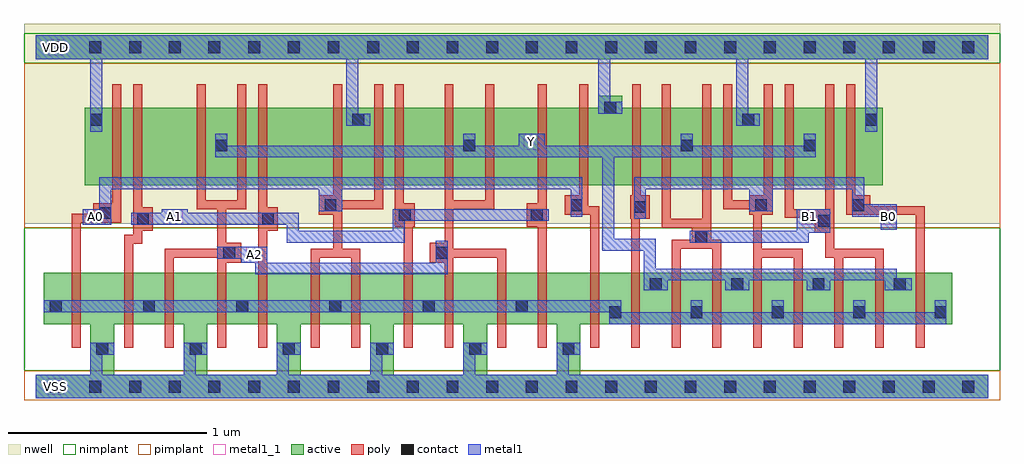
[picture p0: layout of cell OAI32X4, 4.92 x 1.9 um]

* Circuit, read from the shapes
.subckt OAI32X4 A0 A1 A2 B0 B1 VDD VSS Y
M1 VSS A0 n1 VSS nfet w=0.26u l=0.045u m=4
M2 n1 A1 VSS VSS nfet w=0.26u l=0.045u m=4
M3 VSS A2 n1 VSS nfet w=0.26u l=0.045u m=4
M4 Y B0 n1 VSS nfet w=0.26u l=0.045u m=4
M5 n1 B1 Y VSS nfet w=0.26u l=0.045u m=4
M6 n2 A0 VDD VDD pfet w=0.39u l=0.045u
M7 n3 A1 n2 VDD pfet w=0.39u l=0.045u
M8 Y A2 n3 VDD pfet w=0.39u l=0.045u
M9 n4 A2 Y VDD pfet w=0.39u l=0.045u
M10 n5 A1 n4 VDD pfet w=0.39u l=0.045u
M11 VDD A0 n5 VDD pfet w=0.39u l=0.045u
M12 n6 A0 VDD VDD pfet w=0.39u l=0.045u
M13 n7 A1 n6 VDD pfet w=0.39u l=0.045u
M14 Y A2 n7 VDD pfet w=0.39u l=0.045u
M15 n8 A2 Y VDD pfet w=0.39u l=0.045u
M16 n9 A1 n8 VDD pfet w=0.39u l=0.045u
M17 VDD A0 n9 VDD pfet w=0.39u l=0.045u
M18 n10 B0 VDD VDD pfet w=0.39u l=0.045u
M19 Y B1 n10 VDD pfet w=0.39u l=0.045u
M20 n11 B1 Y VDD pfet w=0.39u l=0.045u
M21 VDD B0 n11 VDD pfet w=0.39u l=0.045u
M22 n12 B0 VDD VDD pfet w=0.39u l=0.045u
M23 Y B1 n12 VDD pfet w=0.39u l=0.045u
M24 n13 B1 Y VDD pfet w=0.39u l=0.045u
M25 VDD B0 n13 VDD pfet w=0.39u l=0.045u
.ends

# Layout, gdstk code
import gdstk
lib = gdstk.Library(unit=1e-6, precision=5e-10)
def R(c, l, rs):  # rectangles x0, y0, x1, y1
    for r in rs: c.add(gdstk.rectangle(r[:2], r[2:], *l))
def A(c, l, x, y, w, h, nx, ny, dx, dy):  # array of equal rectangles
    R(c, l, [(x+i*dx, y+j*dy, x+i*dx+w, y+j*dy+h) for i in range(nx) for j in range(ny)])
def P(c, l, *ps):  # polygons
    for p in ps: c.add(gdstk.Polygon(p, *l))
active = (1, 0)
nwell = (2, 0)
poly = (3, 0)
nimplant = (4, 0)
pimplant = (5, 0)
contact = (6, 0)
metal1 = (7, 0)
metal1_1 = (7, 1)

oai32x4 = lib.new_cell('OAI32X4')
R(oai32x4, active, [(0,1.65,4.8,1.77)])
P(oai32x4, active, [(2.835,1.465),(2.955,1.465),(2.955,1.405),(4.27,1.405),(4.27,1.015),(0.245,1.015),(0.245,1.405),(2.835,1.405)],
  [(0.04,0.575),(4.62,0.575),(4.62,0.315),(2.745,0.315),(2.745,0.06),(4.8,0.06),(4.8,-0.06),(0,-0.06),(0,0.06),(0.275,0.06),(0.275,0.315),(0.395,0.315),(0.395,0.06),(0.745,0.06),(0.745,0.315),(0.865,0.315),(0.865,0.06),(1.215,0.06),(1.215,0.315),(1.335,0.315),(1.335,0.06),(1.685,0.06),(1.685,0.315),(1.805,0.315),(1.805,0.06),(2.155,0.06),(2.155,0.315),(2.275,0.315),(2.275,0.06),(2.625,0.06),(2.625,0.315),(0.04,0.315)])
R(oai32x4, nwell, [(-0.06,0.82,4.86,1.83)])
P(oai32x4, poly, [(0.385,1.525),(0.43,1.525),(0.43,0.825),(0.225,0.825),(0.225,0.195),(0.18,0.195),(0.18,0.87),(0.29,0.87),(0.29,0.925),(0.385,0.925)],
  [(0.49,1.525),(0.535,1.525),(0.535,0.905),(0.59,0.905),(0.59,0.785),(0.535,0.785),(0.535,0.72),(0.49,0.72),(0.49,0.195),(0.445,0.195),(0.445,0.765),(0.49,0.765)],
  [(0.81,1.525),(0.855,1.525),(0.855,0.94),(1.015,0.94),(1.015,1.525),(1.06,1.525),(1.06,0.895),(0.96,0.895),(0.96,0.725),(1.035,0.725),(1.035,0.625),(0.96,0.625),(0.96,0.195),(0.915,0.195),(0.915,0.65),(0.695,0.65),(0.695,0.195),(0.65,0.195),(0.65,0.695),(0.915,0.695),(0.915,0.895),(0.81,0.895)],
  [(1.12,1.525),(1.165,1.525),(1.165,0.905),(1.22,0.905),(1.22,0.785),(1.165,0.785),(1.165,0.195),(1.12,0.195)],
  [(1.5,1.525),(1.545,1.525),(1.545,0.94),(1.705,0.94),(1.705,1.525),(1.75,1.525),(1.75,0.895),(1.545,0.895),(1.545,0.695),(1.635,0.695),(1.635,0.195),(1.59,0.195),(1.59,0.65),(1.43,0.65),(1.43,0.195),(1.385,0.195),(1.385,0.695),(1.5,0.695),(1.5,0.865),(1.425,0.865),(1.425,0.965),(1.5,0.965)],
  [(1.81,1.525),(1.855,1.525),(1.855,0.925),(1.91,0.925),(1.91,0.805),(1.9,0.805),(1.9,0.195),(1.855,0.195),(1.855,0.805),(1.81,0.805)],
  [(2.06,1.525),(2.105,1.525),(2.105,0.94),(2.265,0.94),(2.265,1.525),(2.31,1.525),(2.31,0.895),(2.105,0.895),(2.105,0.695),(2.37,0.695),(2.37,0.195),(2.325,0.195),(2.325,0.65),(2.105,0.65),(2.105,0.195),(2.06,0.195),(2.06,0.625),(1.985,0.625),(1.985,0.725),(2.06,0.725)],
  [(2.53,1.525),(2.575,1.525),(2.575,0.195),(2.53,0.195),(2.53,0.805),(2.475,0.805),(2.475,0.925),(2.53,0.925)],
  [(2.74,1.525),(2.785,1.525),(2.785,0.91),(2.84,0.91),(2.84,0.195),(2.795,0.195),(2.795,0.865),(2.665,0.865),(2.665,0.965),(2.74,0.965)],
  [(3.005,1.525),(3.05,1.525),(3.05,0.965),(3.095,0.965),(3.095,0.845),(3.045,0.845),(3.045,0.195),(3,0.195),(3,0.845),(2.995,0.845),(2.995,0.965),(3.005,0.965)],
  [(3.155,1.525),(3.2,1.525),(3.2,0.845),(3.36,0.845),(3.36,1.525),(3.405,1.525),(3.405,0.74),(3.455,0.74),(3.455,0.195),(3.41,0.195),(3.41,0.695),(3.25,0.695),(3.25,0.195),(3.205,0.195),(3.205,0.74),(3.305,0.74),(3.305,0.8),(3.155,0.8)],
  [(3.465,1.525),(3.51,1.525),(3.51,0.94),(3.595,0.94),(3.595,0.965),(3.67,0.965),(3.67,1.525),(3.715,1.525),(3.715,0.865),(3.66,0.865),(3.66,0.695),(3.865,0.695),(3.865,0.195),(3.82,0.195),(3.82,0.65),(3.66,0.65),(3.66,0.195),(3.615,0.195),(3.615,0.865),(3.595,0.865),(3.595,0.895),(3.465,0.895)],
  [(3.775,1.525),(3.82,1.525),(3.82,0.895),(3.98,0.895),(3.98,1.525),(4.025,1.525),(4.025,0.695),(4.275,0.695),(4.275,0.195),(4.23,0.195),(4.23,0.65),(4.07,0.65),(4.07,0.195),(4.025,0.195),(4.025,0.65),(3.98,0.65),(3.98,0.775),(3.925,0.775),(3.925,0.85),(3.775,0.85)],
  [(4.085,1.525),(4.13,1.525),(4.13,0.965),(4.205,0.965),(4.205,0.91),(4.48,0.91),(4.48,0.195),(4.435,0.195),(4.435,0.865),(4.085,0.865)])
R(oai32x4, nimplant, [(-0.06,0.08,4.86,0.8), (-0.06,1.63,4.86,1.78)])
R(oai32x4, pimplant, [(-0.06,-0.07,4.86,0.08), (-0.06,0.8,4.86,1.63)])
A(oai32x4, contact, 0.07, -0.03, 0.06, 0.06, 24, 2, 0.2, 1.71)
A(oai32x4, contact, 0.305, 0.16, 0.06, 0.06, 6, 1, 0.47, 0)
A(oai32x4, contact, 2.89, 0.345, 0.06, 0.06, 5, 1, 0.41, 0)
A(oai32x4, contact, 0.07, 0.375, 0.06, 0.06, 6, 1, 0.47, 0)
A(oai32x4, contact, 3.095, 0.485, 0.06, 0.06, 4, 1, 0.41, 0)
R(oai32x4, contact, [(0.945,0.645,1.005,0.705), (2.015,0.645,2.075,0.705), (3.325,0.725,3.385,0.785), (3.945,0.805,4.005,0.865), (0.51,0.815,0.57,0.875), (1.14,0.815,1.2,0.875), (1.83,0.835,1.89,0.895), (2.495,0.835,2.555,0.895), (0.32,0.845,0.38,0.905), (3.015,0.875,3.075,0.935), (1.455,0.885,1.515,0.945), (2.695,0.885,2.755,0.945), (3.625,0.885,3.685,0.945), (4.115,0.885,4.175,0.945), (0.905,1.185,0.965,1.245), (2.155,1.185,2.215,1.245), (3.25,1.185,3.31,1.245), (3.87,1.185,3.93,1.245), (0.275,1.315,0.335,1.375), (1.595,1.315,1.655,1.375), (3.56,1.315,3.62,1.375), (4.18,1.315,4.24,1.375), (2.865,1.375,2.925,1.435)])
P(oai32x4, metal1, [(0,1.77),(4.8,1.77),(4.8,1.65),(4.24,1.65),(4.24,1.285),(4.18,1.285),(4.18,1.65),(3.59,1.65),(3.59,1.375),(3.65,1.375),(3.65,1.315),(3.53,1.315),(3.53,1.65),(2.895,1.65),(2.895,1.435),(2.955,1.435),(2.955,1.375),(2.835,1.375),(2.835,1.65),(1.625,1.65),(1.625,1.375),(1.685,1.375),(1.685,1.315),(1.565,1.315),(1.565,1.65),(0.335,1.65),(0.335,1.285),(0.275,1.285),(0.275,1.65),(0,1.65)],
  [(0.905,1.275),(0.965,1.275),(0.965,1.215),(2.155,1.215),(2.155,1.275),(2.215,1.275),(2.215,1.215),(2.435,1.215),(2.435,1.275),(2.565,1.275),(2.565,1.215),(3.25,1.215),(3.25,1.275),(3.31,1.275),(3.31,1.215),(3.87,1.215),(3.87,1.275),(3.93,1.275),(3.93,1.155),(2.915,1.155),(2.915,0.745),(3.125,0.745),(3.125,0.595),(4.34,0.595),(4.34,0.545),(4.415,0.545),(4.415,0.485),(4.28,0.485),(4.28,0.535),(4.005,0.535),(4.005,0.485),(3.885,0.485),(3.885,0.535),(3.595,0.535),(3.595,0.485),(3.475,0.485),(3.475,0.535),(3.185,0.535),(3.185,0.485),(3.065,0.485),(3.065,0.685),(2.855,0.685),(2.855,1.155),(0.905,1.155)],
  [(0.32,1.055),(2.755,1.055),(2.755,0.855),(2.695,0.855),(2.695,0.995),(1.545,0.995),(1.545,0.885),(1.425,0.885),(1.425,0.995),(0.38,0.995),(0.38,0.815),(0.235,0.815),(0.235,0.895),(0.32,0.895)],
  [(0.635,0.895),(0.765,0.895),(0.765,0.875),(1.325,0.875),(1.325,0.785),(1.8,0.785),(1.8,0.895),(2.585,0.895),(2.585,0.835),(1.86,0.835),(1.86,0.725),(1.265,0.725),(1.265,0.815),(0.48,0.815),(0.48,0.875),(0.635,0.875)],
  [(0.915,0.705),(1.165,0.705),(1.165,0.625),(2.015,0.625),(2.015,0.735),(2.075,0.735),(2.075,0.565),(1.105,0.565),(1.105,0.625),(1.035,0.625),(1.035,0.645),(0.915,0.645)],
  [(3.015,1.055),(4.175,1.055),(4.175,0.92),(4.34,0.92),(4.34,0.79),(4.26,0.79),(4.26,0.855),(4.115,0.855),(4.115,0.995),(3.715,0.995),(3.715,0.885),(3.595,0.885),(3.595,0.995),(3.075,0.995),(3.075,0.845),(3.015,0.845)],
  [(3.835,0.895),(4.005,0.895),(4.005,0.775),(3.895,0.775),(3.895,0.725),(3.295,0.725),(3.295,0.785),(3.835,0.785)],
  [(0.04,0.435),(2.95,0.435),(2.95,0.375),(3.3,0.375),(3.3,0.435),(3.36,0.435),(3.36,0.375),(3.71,0.375),(3.71,0.435),(3.77,0.435),(3.77,0.375),(4.12,0.375),(4.12,0.435),(4.18,0.435),(4.18,0.375),(4.53,0.375),(4.53,0.435),(4.59,0.435),(4.59,0.315),(2.89,0.315),(2.89,0.375),(0.04,0.375)],
  [(0.275,0.22),(0.395,0.22),(0.395,0.16),(0.335,0.16),(0.335,0.06),(0.745,0.06),(0.745,0.22),(0.865,0.22),(0.865,0.16),(0.805,0.16),(0.805,0.06),(1.215,0.06),(1.215,0.22),(1.335,0.22),(1.335,0.16),(1.275,0.16),(1.275,0.06),(1.685,0.06),(1.685,0.22),(1.805,0.22),(1.805,0.16),(1.745,0.16),(1.745,0.06),(2.155,0.06),(2.155,0.22),(2.275,0.22),(2.275,0.16),(2.215,0.16),(2.215,0.06),(2.625,0.06),(2.625,0.22),(2.745,0.22),(2.745,0.16),(2.685,0.16),(2.685,0.06),(4.8,0.06),(4.8,-0.06),(0,-0.06),(0,0.06),(0.275,0.06)])
R(oai32x4, metal1_1, [(0.06,-0.04,0.14,0.04), (1.06,0.625,1.14,0.705), (0.26,0.815,0.34,0.895), (0.66,0.815,0.74,0.895), (3.86,0.815,3.94,0.895), (4.26,0.815,4.34,0.895), (2.46,1.195,2.54,1.275), (0.06,1.67,0.14,1.75)])
oai32x4.add(gdstk.Label('Y', (2.5,1.235), layer=7, texttype=1))
oai32x4.add(gdstk.Label('A0', (0.3,0.855), layer=7, texttype=1))
oai32x4.add(gdstk.Label('B0', (4.3,0.855), layer=7, texttype=1))
oai32x4.add(gdstk.Label('A1', (0.7,0.855), layer=7, texttype=1))
oai32x4.add(gdstk.Label('B1', (3.9,0.855), layer=7, texttype=1))
oai32x4.add(gdstk.Label('A2', (1.1,0.665), layer=7, texttype=1))
oai32x4.add(gdstk.Label('VDD', (0.1,1.71), layer=7, texttype=1))
oai32x4.add(gdstk.Label('VSS', (0.1,0), layer=7, texttype=1))
oai32x4.add(gdstk.Label('OAI32X4', (0,0), layer=63, texttype=0))

lib.write_gds('OAI32X4.gds')
